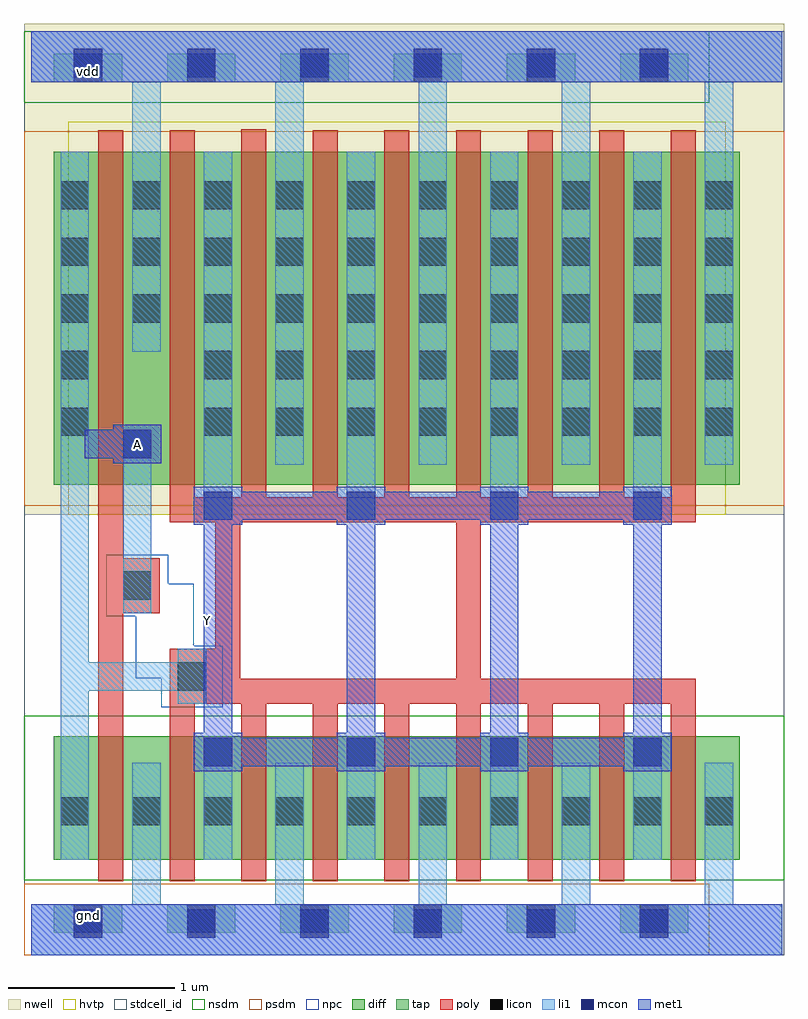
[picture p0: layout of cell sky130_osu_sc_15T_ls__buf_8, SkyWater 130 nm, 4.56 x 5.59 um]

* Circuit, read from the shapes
.subckt sky130_osu_sc_15T_ls__buf_8 A Y gnd vdd
XM1 gnd A n1 gnd sky130_fd_pr__nfet_01v8 w=0.74 l=0.15
XM2 Y n1 gnd gnd sky130_fd_pr__nfet_01v8 w=0.74 l=0.15 m=8
XM3 vdd A n1 vdd sky130_fd_pr__pfet_01v8_hvt w=2 l=0.15
XM4 Y n1 vdd vdd sky130_fd_pr__pfet_01v8_hvt w=2 l=0.15 m=8
.ends

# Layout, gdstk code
import gdstk
lib = gdstk.Library(unit=1e-6, precision=1e-09)
def R(c, l, rs):  # rectangles x0, y0, x1, y1
    for r in rs: c.add(gdstk.rectangle(r[:2], r[2:], *l))
def A(c, l, x, y, w, h, nx, ny, dx, dy):  # array of equal rectangles
    R(c, l, [(x+i*dx, y+j*dy, x+i*dx+w, y+j*dy+h) for i in range(nx) for j in range(ny)])
nwell = (64, 20)
diff = (65, 20)
tap = (65, 44)
poly = (66, 20)
licon = (66, 44)
li1 = (67, 20)
mcon = (67, 44)
met1 = (68, 20)
hvtp = (78, 44)
stdcell_id = (81, 4)
nsdm = (93, 44)
psdm = (94, 20)
npc = (95, 20)

sky130_osu_sc_15t_ls__bu = lib.new_cell('sky130_osu_sc_15T_ls__buf_8')
R(sky130_osu_sc_15t_ls__bu, nwell, [(-0.045,2.645,4.52,5.595)])
R(sky130_osu_sc_15t_ls__bu, diff, [(0.135,0.575,4.255,1.315), (0.135,2.825,4.255,4.825)])
A(sky130_osu_sc_15t_ls__bu, tap, 0.135, 0.135, 0.41, 0.17, 6, 2, 0.68, 5.11)
A(sky130_osu_sc_15t_ls__bu, poly, 0.83, 0.445, 0.15, 1.065, 8, 1, 0.43, 0)
A(sky130_osu_sc_15t_ls__bu, poly, 1.69, 2.75, 0.15, 2.205, 6, 1, 0.43, 0)
R(sky130_osu_sc_15t_ls__bu, poly, [(0.4,0.445,0.55,2.055), (0.83,1.51,3.99,1.66), (0.83,1.66,1.255,1.84), (2.55,1.66,2.7,2.6), (1.105,1.84,1.255,2.6), (0.4,2.055,0.77,2.385), (0.4,2.385,0.55,4.955), (0.83,2.6,3.99,2.75), (0.83,2.75,0.98,4.955), (1.26,2.75,1.41,4.96)])
A(sky130_osu_sc_15t_ls__bu, licon, 0.255, 0.135, 0.17, 0.17, 6, 2, 0.68, 5.11)
A(sky130_osu_sc_15t_ls__bu, licon, 0.175, 0.78, 0.17, 0.17, 10, 2, 0.43, 3.02)
A(sky130_osu_sc_15t_ls__bu, licon, 1.035, 3.12, 0.17, 0.17, 8, 2, 0.43, 0.34)
A(sky130_osu_sc_15t_ls__bu, licon, 0.175, 4.14, 0.17, 0.17, 10, 2, 0.43, 0.34)
R(sky130_osu_sc_15t_ls__bu, licon, [(0.88,1.59,1.05,1.76), (0.55,2.135,0.72,2.305), (0.175,3.12,0.345,3.29), (0.175,3.46,0.345,3.63)])
A(sky130_osu_sc_15t_ls__bu, li1, 0.605, 0.305, 0.17, 0.85, 5, 1, 0.86, 0)
A(sky130_osu_sc_15t_ls__bu, li1, 1.035, 0.575, 0.17, 0.73, 4, 1, 0.86, 0)
A(sky130_osu_sc_15t_ls__bu, li1, 1.035, 2.615, 0.17, 2.21, 4, 1, 0.86, 0)
A(sky130_osu_sc_15t_ls__bu, li1, 1.465, 2.945, 0.17, 2.3, 4, 1, 0.86, 0)
R(sky130_osu_sc_15t_ls__bu, li1, [(0,0,4.51,0.305), (0.175,0.575,0.345,1.59), (0.88,1.51,1.05,1.59), (0.175,1.59,1.05,1.76), (0.175,1.76,0.345,4.825), (0.88,1.76,1.05,1.84), (0.55,2.055,0.72,3.155), (0.605,3.625,0.775,5.245), (0,5.245,4.51,5.55)])
A(sky130_osu_sc_15t_ls__bu, mcon, 0.255, 0.105, 0.17, 0.17, 6, 2, 0.68, 5.17)
A(sky130_osu_sc_15t_ls__bu, mcon, 1.035, 1.135, 0.17, 0.17, 4, 2, 0.86, 1.48)
R(sky130_osu_sc_15t_ls__bu, mcon, [(0.55,2.985,0.72,3.155)])
A(sky130_osu_sc_15t_ls__bu, met1, 0.975, 1.105, 0.29, 0.03, 4, 2, 0.86, 0.2)
A(sky130_osu_sc_15t_ls__bu, met1, 1.035, 1.335, 0.17, 1.25, 4, 1, 0.86, 0)
A(sky130_osu_sc_15t_ls__bu, met1, 0.975, 2.585, 0.29, 0.03, 4, 2, 0.86, 0.2)
R(sky130_osu_sc_15t_ls__bu, met1, [(0,0,4.51,0.305), (0.975,1.135,3.845,1.305), (0.975,2.615,3.845,2.785), (0.49,2.955,0.78,2.985), (0.32,2.985,0.78,3.155), (0.49,3.155,0.78,3.185), (0,5.245,4.51,5.55)])
R(sky130_osu_sc_15t_ls__bu, hvtp, [(0.22,2.645,4.17,5.005)])
R(sky130_osu_sc_15t_ls__bu, stdcell_id, [(-0.045,0,4.52,5.55)])
R(sky130_osu_sc_15t_ls__bu, nsdm, [(-0.045,0.45,4.52,1.44), (-0.045,5.12,4.07,5.55)])
R(sky130_osu_sc_15t_ls__bu, psdm, [(-0.045,0,4.07,0.43), (-0.045,2.7,4.52,4.95)])
R(sky130_osu_sc_15t_ls__bu, npc, [(0.78,1.49,1.15,1.665), (0.625,1.665,1.15,1.86), (0.625,1.86,0.975,2.035), (0.45,2.035,0.975,2.23), (0.45,2.23,0.82,2.405)])
sky130_osu_sc_15t_ls__bu.add(gdstk.Label('gnd', (0.34,0.24), layer=68, texttype=16))
sky130_osu_sc_15t_ls__bu.add(gdstk.Label('vdd', (0.34,5.31), layer=68, texttype=16))
sky130_osu_sc_15t_ls__bu.add(gdstk.Label('A', (0.635,3.07), layer=68, texttype=5))
sky130_osu_sc_15t_ls__bu.add(gdstk.Label('Y', (1.055,2.01), layer=68, texttype=5))

lib.write_gds('sky130_osu_sc_15T_ls__buf_8.gds')
